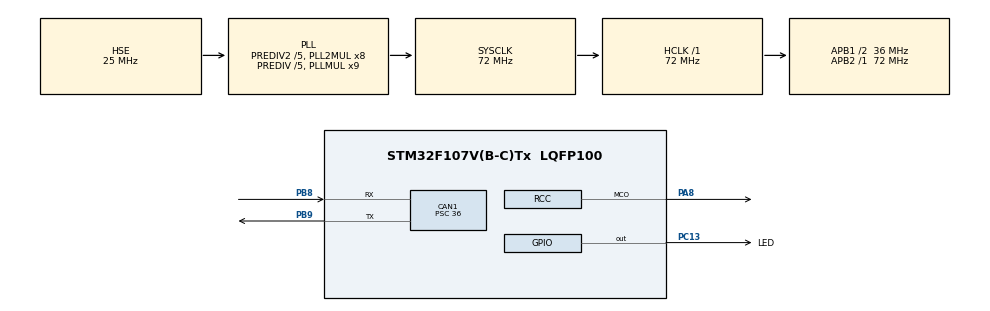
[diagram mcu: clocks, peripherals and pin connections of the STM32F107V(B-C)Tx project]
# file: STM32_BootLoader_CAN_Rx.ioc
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CAN1.BS1=CAN_BS1_6TQ
CAN1.CalculateBaudRate=125000
CAN1.CalculateTimeBit=8000
CAN1.CalculateTimeQuantum=1000.0
CAN1.Prescaler=36
Mcu.Family=STM32F1
Mcu.Name=STM32F107V(B-C)Tx
Mcu.Package=LQFP100
NVIC.CAN1_RX0_IRQn=true\:0\:0\:false\:false\:true\:true\:true\:true
NVIC.PriorityGroup=NVIC_PRIORITYGROUP_4
OSC_IN.Mode=HSE-External-Oscillator
OSC_IN.Signal=RCC_OSC_IN
OSC_OUT.Mode=HSE-External-Oscillator
OSC_OUT.Signal=RCC_OSC_OUT
PA13.Mode=Serial_Wire
PA13.Signal=SYS_JTMS-SWDIO
PA14.Mode=Serial_Wire
PA14.Signal=SYS_JTCK-SWCLK
PA8.GPIO_Speed=GPIO_SPEED_FREQ_MEDIUM
PA8.Mode=Clock-out
PA8.Signal=RCC_MCO
PB8.Mode=CAN_Activate
PB8.Signal=CAN1_RX
PB9.Mode=CAN_Activate
PB9.Signal=CAN1_TX
PC13-TAMPER-RTC.GPIO_Label=LED
PC13-TAMPER-RTC.Signal=GPIO_Output
ProjectManager.HeapSize=0x200
ProjectManager.StackSize=0x400
ProjectManager.TargetToolchain=STM32CubeIDE
RCC.AHBFreq_Value=72000000
RCC.APB1CLKDivider=RCC_HCLK_DIV2
RCC.APB1Freq_Value=36000000
RCC.APB1TimFreq_Value=72000000
RCC.APB2Freq_Value=72000000
RCC.APB2TimFreq_Value=72000000
RCC.HCLKFreq_Value=72000000
RCC.HSEDivPLL=RCC_HSE_PREDIV_DIV5
RCC.HSE_VALUE=25000000
RCC.PLL3Mul=RCC_PLLI2S_MUL10
RCC.PLLMUL=RCC_PLL_MUL9
RCC.PLLSourceVirtual=RCC_PLLSOURCE_HSE
RCC.Prediv1Source=RCC_PREDIV1_SOURCE_PLL2
RCC.Prediv2=RCC_HSE_PREDIV2_DIV5
RCC.RCC_MCOSource=RCC_MCO1SOURCE_PLL3CLK
RCC.SYSCLKFreq_VALUE=72000000
RCC.SYSCLKSource=RCC_SYSCLKSOURCE_PLLCLK
RCC.USBFreq_Value=48000000
board=custom

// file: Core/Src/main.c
/* USER CODE BEGIN Header */
/**
  ******************************************************************************
  * @file           : main.c
  * @brief          : Main program body
  ******************************************************************************
  * @attention
  *
  * Copyright (c) 2024 STMicroelectronics.
  * All rights reserved.
  *
  * This software is licensed under terms that can be found in the LICENSE file
  * in the root directory of this software component.
  * If no LICENSE file comes with this software, it is provided AS-IS.
  *
  ******************************************************************************
  */
/* USER CODE END Header */
#include "main.h"

/* USER CODE BEGIN Includes */
#include <stdio.h>
#include <string.h>
/* USER CODE END Includes */

/* USER CODE BEGIN PD */
#define FLASH_START_ADDRESS     0x08020000  // Address to store the new firmware
#define MAX_BLOCK_SIZE          1024  // Block size of data for transmission
#define CAN_TIMEOUT             1000  // Timeout for CAN reception
#define FIRMWARE_SIZE           8192  // Total size of the firmware image (8KB)
/* USER CODE END PD */

CAN_HandleTypeDef hcan1;

/* USER CODE BEGIN PV */
CAN_RxHeaderTypeDef RxHeader;
uint8_t RxData[8];
uint32_t flash_address = FLASH_START_ADDRESS;
uint32_t firmware_size_remaining = FIRMWARE_SIZE;
/* USER CODE END PV */

void SystemClock_Config(void);
static void MX_GPIO_Init(void);
static void MX_CAN1_Init(void);
/* USER CODE BEGIN PFP */

void jump_to_application();

/* USER CODE END PFP */

/* USER CODE BEGIN 0 */

/**
 * @brief Erase Flash memory before writing
 */
void Flash_Erase(uint32_t startAddress, uint32_t size) {
	HAL_FLASH_Unlock();

	FLASH_EraseInitTypeDef eraseInitStruct;
    uint32_t pageError;
    eraseInitStruct.TypeErase = FLASH_TYPEERASE_PAGES;
    eraseInitStruct.PageAddress = startAddress;
    eraseInitStruct.NbPages = size / FLASH_PAGE_SIZE;
    if (HAL_FLASHEx_Erase(&eraseInitStruct, &pageError) != HAL_OK) {
        Error_Handler();  // Handle erase error
    }
	HAL_FLASH_Lock();
}

/**
 * @brief Write a block of data to Flash memory
 */
void Flash_Write_Block(uint32_t address, uint8_t* data, uint32_t length) {
    HAL_FLASH_Unlock();  // Unlock Flash for writing

    for (uint32_t i = 0; i < length; i += 2) {
        uint16_t halfword = (data[i+1] << 8) | data[i];  // Combine two bytes into a halfword (16 bits)
        if (HAL_FLASH_Program(FLASH_TYPEPROGRAM_HALFWORD, address + i, halfword) != HAL_OK) {
            Error_Handler();  // Handle write error
        }
    }

    HAL_FLASH_Lock();  // Lock Flash after writing
}

/* USER CODE END 0 */

int main(void)
{

  /* MCU Configuration--------------------------------------------------------*/

  /* Reset of all peripherals, Initializes the Flash interface and the Systick. */
  HAL_Init();

  /* Configure the system clock */
  SystemClock_Config();

  /* Initialize all configured peripherals */
  MX_GPIO_Init();
  MX_CAN1_Init();
  /* USER CODE BEGIN 2 */

  HAL_CAN_Start(&hcan1);
  HAL_CAN_ActivateNotification(&hcan1, CAN_IT_RX_FIFO0_MSG_PENDING);

  Flash_Erase(FLASH_START_ADDRESS, FIRMWARE_SIZE);

  /* USER CODE END 2 */

  /* Infinite loop */
  /* USER CODE BEGIN WHILE */
  while (1)
  {
	  if(firmware_size_remaining <= 0)
		{
		  jump_to_application();
		}
	/* USER CODE END WHILE */

  }
}

void SystemClock_Config(void)
{
  RCC_OscInitTypeDef RCC_OscInitStruct = {0};
  RCC_ClkInitTypeDef RCC_ClkInitStruct = {0};

  /** Initializes the RCC Oscillators according to the specified parameters
  * in the RCC_OscInitTypeDef structure.
  */
  RCC_OscInitStruct.OscillatorType = RCC_OSCILLATORTYPE_HSE;
  RCC_OscInitStruct.HSEState = RCC_HSE_ON;
  RCC_OscInitStruct.HSEPredivValue = RCC_HSE_PREDIV_DIV5;
  RCC_OscInitStruct.HSIState = RCC_HSI_ON;
  RCC_OscInitStruct.Prediv1Source = RCC_PREDIV1_SOURCE_PLL2;
  RCC_OscInitStruct.PLL.PLLState = RCC_PLL_ON;
  RCC_OscInitStruct.PLL.PLLSource = RCC_PLLSOURCE_HSE;
  RCC_OscInitStruct.PLL.PLLMUL = RCC_PLL_MUL9;
  RCC_OscInitStruct.PLL2.PLL2State = RCC_PLL2_ON;
  RCC_OscInitStruct.PLL2.PLL2MUL = RCC_PLL2_MUL8;
  RCC_OscInitStruct.PLL2.HSEPrediv2Value = RCC_HSE_PREDIV2_DIV5;
  if (HAL_RCC_OscConfig(&RCC_OscInitStruct) != HAL_OK)
  {
    Error_Handler();
  }

  /** Initializes the CPU, AHB and APB buses clocks
  */
  RCC_ClkInitStruct.ClockType = RCC_CLOCKTYPE_HCLK|RCC_CLOCKTYPE_SYSCLK
                              |RCC_CLOCKTYPE_PCLK1|RCC_CLOCKTYPE_PCLK2;
  RCC_ClkInitStruct.SYSCLKSource = RCC_SYSCLKSOURCE_PLLCLK;
  RCC_ClkInitStruct.AHBCLKDivider = RCC_SYSCLK_DIV1;
  RCC_ClkInitStruct.APB1CLKDivider = RCC_HCLK_DIV2;
  RCC_ClkInitStruct.APB2CLKDivider = RCC_HCLK_DIV1;

  if (HAL_RCC_ClockConfig(&RCC_ClkInitStruct, FLASH_LATENCY_2) != HAL_OK)
  {
    Error_Handler();
  }
  HAL_RCC_MCOConfig(RCC_MCO, RCC_MCO1SOURCE_PLL3CLK, RCC_MCODIV_1);

  /** Configure the Systick interrupt time
  */
  __HAL_RCC_HSE_PREDIV2_CONFIG(RCC_HSE_PREDIV2_DIV5);

  /** Configure the Systick interrupt time
  */
  __HAL_RCC_PLLI2S_CONFIG(RCC_PLLI2S_MUL10);

  /** Configure the Systick interrupt time
  */
  __HAL_RCC_PLLI2S_ENABLE();
}

static void MX_CAN1_Init(void)
{

  hcan1.Instance = CAN1;
  hcan1.Init.Prescaler = 36;
  hcan1.Init.Mode = CAN_MODE_NORMAL;
  hcan1.Init.SyncJumpWidth = CAN_SJW_1TQ;
  hcan1.Init.TimeSeg1 = CAN_BS1_6TQ;
  hcan1.Init.TimeSeg2 = CAN_BS2_1TQ;
  hcan1.Init.TimeTriggeredMode = DISABLE;
  hcan1.Init.AutoBusOff = DISABLE;
  hcan1.Init.AutoWakeUp = DISABLE;
  hcan1.Init.AutoRetransmission = DISABLE;
  hcan1.Init.ReceiveFifoLocked = DISABLE;
  hcan1.Init.TransmitFifoPriority = DISABLE;
  if (HAL_CAN_Init(&hcan1) != HAL_OK)
  {
    Error_Handler();
  }
  /* USER CODE BEGIN CAN1_Init 2 */
  CAN_FilterTypeDef sFilterConfig;

  sFilterConfig.FilterBank = 0;                   // Filter bank 0
  sFilterConfig.FilterMode = CAN_FILTERMODE_IDMASK; // Mask mode
  sFilterConfig.FilterScale = CAN_FILTERSCALE_32BIT; // 32-bit filter
  sFilterConfig.FilterIdHigh = 0x321 << 5;        // CAN ID (Standard ID 0x321)
  sFilterConfig.FilterIdLow = 0x0000;
  sFilterConfig.FilterMaskIdHigh = 0xFFFF;        // Exact match for the ID
  sFilterConfig.FilterMaskIdLow = 0x0000;
  sFilterConfig.FilterFIFOAssignment = CAN_FILTER_FIFO0; // Use FIFO0
  sFilterConfig.FilterActivation = ENABLE;

  HAL_CAN_ConfigFilter(&hcan1, &sFilterConfig);
  /* USER CODE END CAN1_Init 2 */

}

static void MX_GPIO_Init(void)
{
  GPIO_InitTypeDef GPIO_InitStruct = {0};

  /* GPIO Ports Clock Enable */
  __HAL_RCC_GPIOC_CLK_ENABLE();
  __HAL_RCC_GPIOA_CLK_ENABLE();
  __HAL_RCC_GPIOB_CLK_ENABLE();

  /*Configure GPIO pin Output Level */
  HAL_GPIO_WritePin(LED_GPIO_Port, LED_Pin, GPIO_PIN_RESET);

  /*Configure GPIO pin : LED_Pin */
  GPIO_InitStruct.Pin = LED_Pin;
  GPIO_InitStruct.Mode = GPIO_MODE_OUTPUT_PP;
  GPIO_InitStruct.Pull = GPIO_NOPULL;
  GPIO_InitStruct.Speed = GPIO_SPEED_FREQ_LOW;
  HAL_GPIO_Init(LED_GPIO_Port, &GPIO_InitStruct);

  /*Configure GPIO pin : PA8 */
  GPIO_InitStruct.Pin = GPIO_PIN_8;
  GPIO_InitStruct.Mode = GPIO_MODE_AF_PP;
  GPIO_InitStruct.Speed = GPIO_SPEED_FREQ_MEDIUM;
  HAL_GPIO_Init(GPIOA, &GPIO_InitStruct);

}

/* USER CODE BEGIN 4 */
void jump_to_application()
{
	void (*newFirmware)(void);
	newFirmware = (void (*)(void)) (*((volatile uint32_t*) (FLASH_START_ADDRESS + 4)));
	HAL_RCC_DeInit();
	HAL_DeInit();
	__set_MSP(*((volatile uint32_t*) FLASH_START_ADDRESS));  // Set the stack pointer to the new firmware
	SysTick->CTRL = 0;
	SysTick->LOAD = 0;
	SysTick->VAL = 0;
	newFirmware();  // Jump to new firmware
}

void HAL_CAN_RxFifo0MsgPendingCallback(CAN_HandleTypeDef *hcan)
{
    if (HAL_CAN_GetRxMessage(hcan, CAN_RX_FIFO0, &RxHeader, RxData) == HAL_OK)
    {
        uint32_t block_size = (firmware_size_remaining > 8) ? 8 : firmware_size_remaining;
        Flash_Write_Block(flash_address, RxData, block_size);
        flash_address += block_size;
        firmware_size_remaining -= block_size;
        HAL_GPIO_TogglePin(GPIOC, GPIO_PIN_13);
    }
}

/* USER CODE END 4 */

void Error_Handler(void)
{
  __disable_irq();
  while (1)
  {
  }
}
